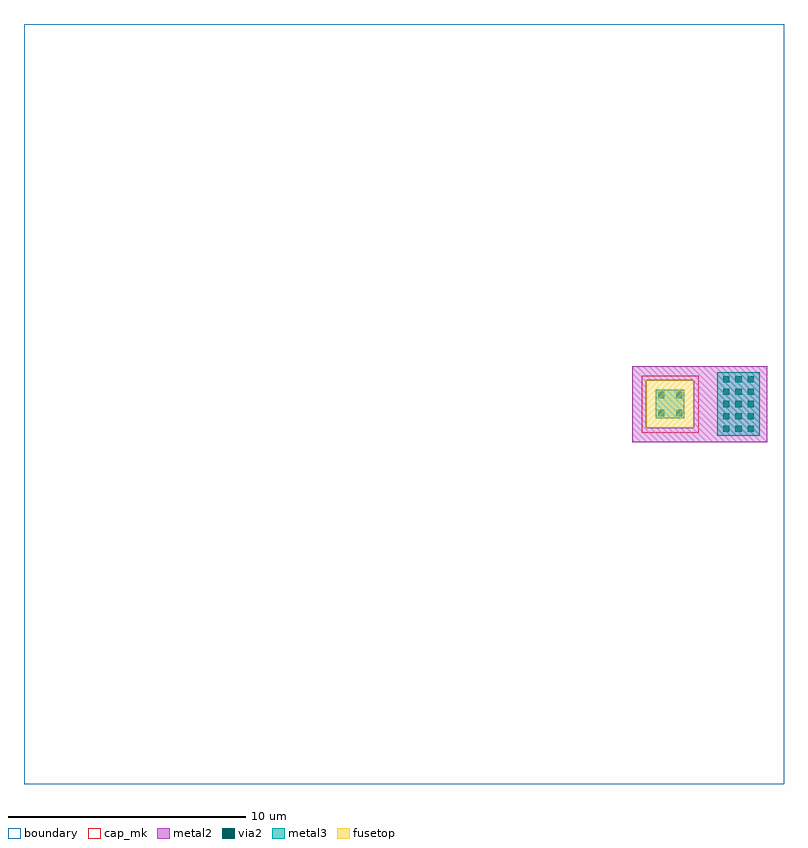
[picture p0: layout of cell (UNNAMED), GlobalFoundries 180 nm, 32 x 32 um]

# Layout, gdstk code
import gdstk
lib = gdstk.Library(unit=1e-6, precision=1e-09)
def R(c, l, rs):  # rectangles x0, y0, x1, y1
    for r in rs: c.add(gdstk.rectangle(r[:2], r[2:], *l))
def A(c, l, x, y, w, h, nx, ny, dx, dy):  # array of equal rectangles
    R(c, l, [(x+i*dx, y+j*dy, x+i*dx+w, y+j*dy+h) for i in range(nx) for j in range(ny)])
boundary = (0, 0)
metal2 = (36, 0)
via2 = (38, 0)
metal3 = (42, 0)
fusetop = (75, 0)
cap_mk = (117, 5)

c__unnamed_ = lib.new_cell('(UNNAMED)')
R(c__unnamed_, boundary, [(-28.45,-16,3.55,16)])
R(c__unnamed_, metal2, [(-2.845,-1.6,2.845,-1), (-2.845,-1,-2.245,1), (-0.245,-1,2.845,1), (-2.845,1,2.845,1.6)])
A(c__unnamed_, via2, 0.985, -1.17, 0.26, 0.26, 3, 5, 0.52, 0.52)
R(c__unnamed_, via2, [(-1.755,-0.51,-1.495,-0.25), (-0.995,-0.51,-0.735,-0.25), (-1.755,0.25,-1.495,0.51), (-0.995,0.25,-0.735,0.51)])
R(c__unnamed_, metal3, [(0.735,-1.345,2.535,1.345), (-1.845,-0.6,-0.645,0.6)])
R(c__unnamed_, fusetop, [(-2.245,-1,-0.245,1)])
R(c__unnamed_, cap_mk, [(-2.445,-1.2,-0.045,1.2)])

lib.write_gds('_UNNAMED_.gds')
